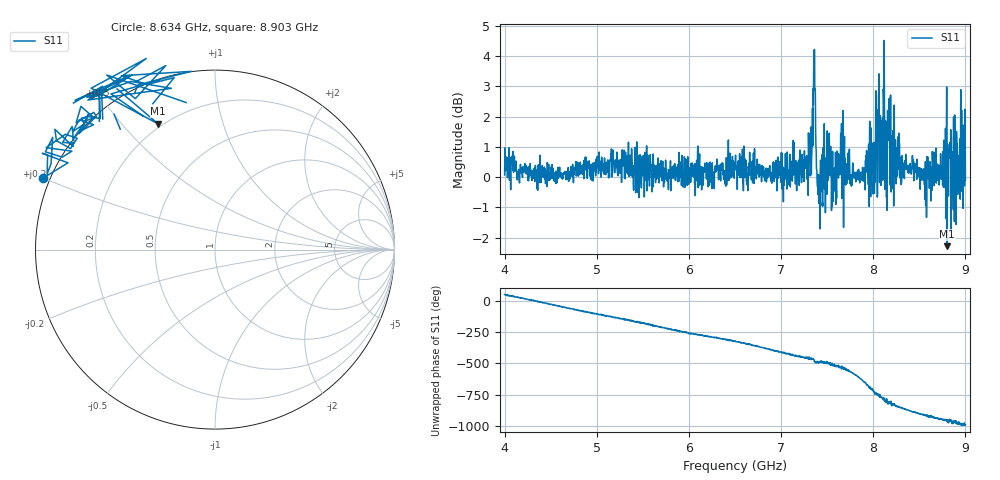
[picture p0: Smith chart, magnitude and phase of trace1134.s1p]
! Created with skrf 1.8.0 (http://scikit-rf.org).
# Hz S RI R 50.0
!freq ReS11 ImS11
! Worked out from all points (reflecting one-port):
!   1601 points, 4 GHz to 9 GHz, reference 50 ohm
!   lowest |S11| = -2.3 dB at 8.803 GHz (marker M1), VSWR 7.66, Z = 9.18 + j31.5 ohm
!   phase of S11 starts at 52 deg and turns -1043 deg over the sweep
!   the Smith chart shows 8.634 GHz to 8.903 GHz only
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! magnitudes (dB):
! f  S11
! 4 GHz  0.1
! 4.625 GHz  -0.1
! 5.25 GHz  0.2
! 5.875 GHz  -0.1
! 6.5 GHz  0.4
! 7.125 GHz  0.4
! 7.306 GHz  0.8
! 7.356 GHz  4.2
! 7.372 GHz  2.8
! 7.4 GHz  -0.5
! 7.416 GHz  -0.6
! 7.512 GHz  1.0
! 7.572 GHz  -0.1
! 7.65 GHz  1.1
! 7.75 GHz  -0.2
! 7.969 GHz  1.3
! 7.997 GHz  -0.6
! 8.05 GHz  2.2
! 8.066 GHz  0.8
! 8.097 GHz  0.7
! 8.178 GHz  2.6
! 8.216 GHz  1.5
! 8.375 GHz  0.4
! 8.556 GHz  -0.3
! 8.803 GHz  -2.3
! 8.875 GHz  0.0
! 8.972 GHz  0.6
! 9 GHz  -0.1
